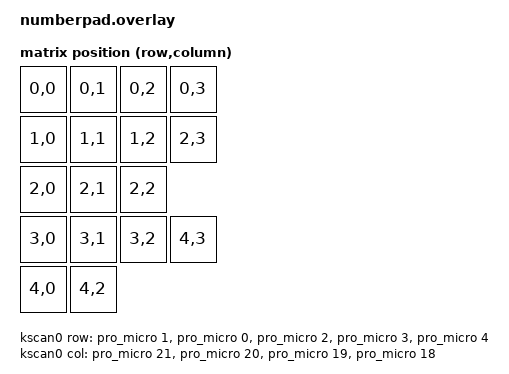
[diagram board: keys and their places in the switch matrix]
/*
 * numberpad shield - 17-key numpad, SuperMini / ProMicro nRF52840 (nice_nano_v2 compatible)
 *
 * Matrix (from FlyingProbeTesting.json netlist of the PCB):
 *   COL0..3 = pro_micro 21 / 20 / 19 / 18   (P0.31 / P0.29 / P0.02 / P1.15)
 *   ROW0..4 = pro_micro  1 /  0 /  2 /  3 / 4  (P0.06 / P0.08 / P0.17 / P0.20 / P0.22)
 *   diode-direction = col2row (cathode to switch -> row, anode on column side)
 */

#include <dt-bindings/zmk/matrix_transform.h>
#include <layouts/common/numpad/17_key.dtsi>

/ {
    chosen {
        zmk,kscan = &kscan0;
        zmk,physical-layout = &layout_numpad_17_key;
    };

    kscan0: kscan {
        compatible = "zmk,kscan-gpio-matrix";
        wakeup-source;
        diode-direction = "col2row";

        col-gpios
            = <&pro_micro 21 GPIO_ACTIVE_HIGH>
            , <&pro_micro 20 GPIO_ACTIVE_HIGH>
            , <&pro_micro 19 GPIO_ACTIVE_HIGH>
            , <&pro_micro 18 GPIO_ACTIVE_HIGH>
            ;

        row-gpios
            = <&pro_micro 1 (GPIO_ACTIVE_HIGH | GPIO_PULL_DOWN)>
            , <&pro_micro 0 (GPIO_ACTIVE_HIGH | GPIO_PULL_DOWN)>
            , <&pro_micro 2 (GPIO_ACTIVE_HIGH | GPIO_PULL_DOWN)>
            , <&pro_micro 3 (GPIO_ACTIVE_HIGH | GPIO_PULL_DOWN)>
            , <&pro_micro 4 (GPIO_ACTIVE_HIGH | GPIO_PULL_DOWN)>
            ;
    };

    /* Visual order: NumLock / * -  |  7 8 9 +  |  4 5 6  |  1 2 3 Enter  |  0 . */
    default_transform: keymap_transform_0 {
        compatible = "zmk,matrix-transform";
        columns = <4>;
        rows = <5>;
        map = <
RC(0,0) RC(0,1) RC(0,2) RC(0,3)
RC(1,0) RC(1,1) RC(1,2) RC(2,3)
RC(2,0) RC(2,1) RC(2,2)
RC(3,0) RC(3,1) RC(3,2) RC(4,3)
RC(4,0) RC(4,2)
        >;
    };
};

&layout_numpad_17_key {
    transform = <&default_transform>;
};
